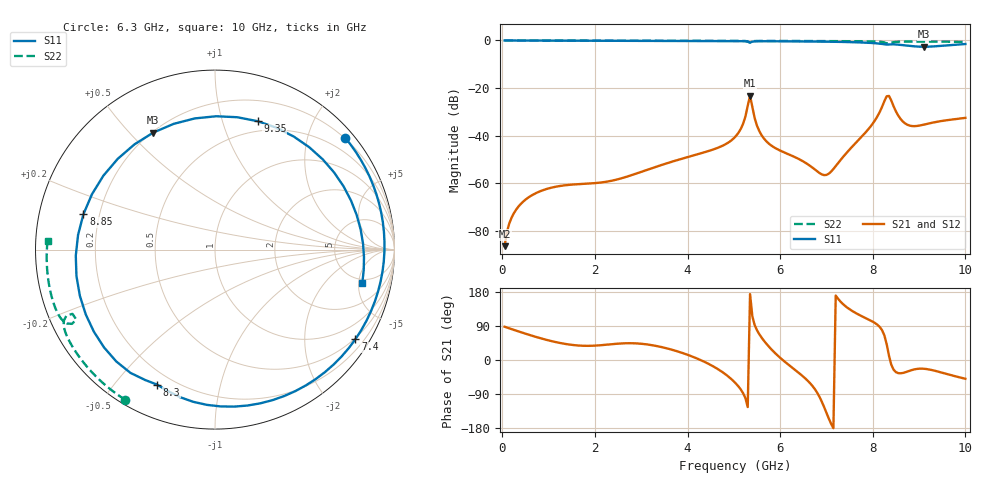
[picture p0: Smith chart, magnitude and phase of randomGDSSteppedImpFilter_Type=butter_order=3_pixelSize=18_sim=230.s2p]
! freq	dB(S11)	phase(S11)	dB(S12)	phase(S12)
!  dB(S21)	phase(S21)	dB(S22)	phase(S22)
!S-par simulation data
#  GHz  S  DB  R 50
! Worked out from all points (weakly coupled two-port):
!   200 points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, 50 MHz to 10 GHz, reference 50 ohm
!   highest |S21| = -23.23 dB at 5.35 GHz (marker M1); lowest = -86.3 dB at 50 MHz (marker M2)
!   lowest |S11| = -2.7 dB at 9.1 GHz (marker M3), VSWR 6.61, Z = 10.2 + j29.2 ohm
!   |S11| at or under -10 dB: nowhere
!   |S22| runs from -1.3 to 0.0 dB; largest |S21 - S12| = 0
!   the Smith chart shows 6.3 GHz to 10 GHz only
!   S11 on the Smith chart (normalised r, x): 6.3 GHz: 0.18, +2.69; 7.4 GHz: 0.47, -3.36; 8.3 GHz: 0.14, -0.65; 8.85 GHz: 0.14, +0.13; 9.35 GHz: 0.39, +1.31; 10 GHz: 4.40, -5.58
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0.05  -0.01 -3.0  -86.33 87.8  -86.33 87.8  -0.01 -1.1
0.65  -0.05 -40.1  -64.85 63.7  -64.85 63.7  -0.02 -13.9
1.75  -0.12 -101.3  -60.19 37.6  -60.19 37.6  -0.05 -36.9
2.6  -0.15 -141.9  -57.70 43.9  -57.70 43.9  -0.07 -54.0
3.4  -0.18 -177.2  -52.50 35.2  -52.50 35.2  -0.09 -69.6
4.2  -0.22 147.8  -47.86 4.2  -47.86 4.2  -0.12 -84.5
5.05  -0.28 107.9  -39.99 -62.9  -39.99 -62.9  -0.16 -100.2
5.35  -0.87 93.2  -23.23 173.9  -23.23 173.9  -0.98 -104.6
5.5  -0.35 86.3  -35.77 78.5  -35.77 78.5  -0.22 -106.2
5.65  -0.33 77.9  -41.16 50.8  -41.16 50.8  -0.19 -109.3
6.3  -0.39 40.7  -48.79 -24.0  -48.79 -24.0  -0.22 -120.8
6.7  -0.45 15.8  -53.40 -68.9  -53.40 -68.9  -0.25 -127.6
7  -0.51 -4.0  -56.42 -139.6  -56.42 -139.6  -0.27 -132.6
7.4  -0.65 -32.6  -47.94 142.9  -47.94 142.9  -0.31 -139.4
7.9  -0.98 -73.6  -37.36 107.4  -37.36 107.4  -0.37 -148.3
8.3  -1.74 -113.3  -23.44 41.9  -23.44 41.9  -1.20 -155.7
8.35  -1.68 -118.1  -23.28 11.4  -23.28 11.4  -1.25 -153.3
8.85  -2.39 165.0  -35.93 -26.3  -35.93 -26.3  -0.47 -162.1
9.1  -2.65 117.8  -35.35 -23.1  -35.35 -23.1  -0.48 -166.6
9.35  -2.46 71.7  -34.27 -28.6  -34.27 -28.6  -0.51 -171.1
9.65  -1.96 26.2  -33.34 -38.7  -33.34 -38.7  -0.54 -176.6
10  -1.50 -12.7  -32.49 -49.6  -32.49 -49.6  -0.59 176.9
